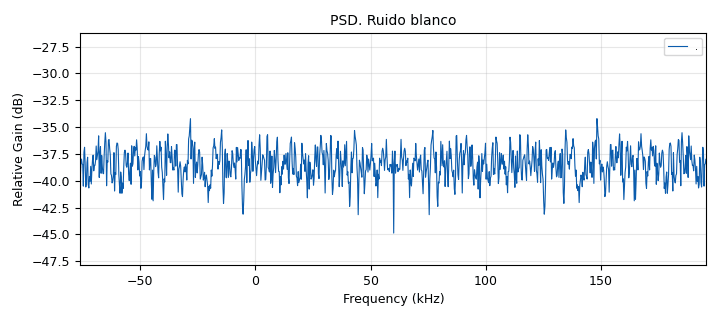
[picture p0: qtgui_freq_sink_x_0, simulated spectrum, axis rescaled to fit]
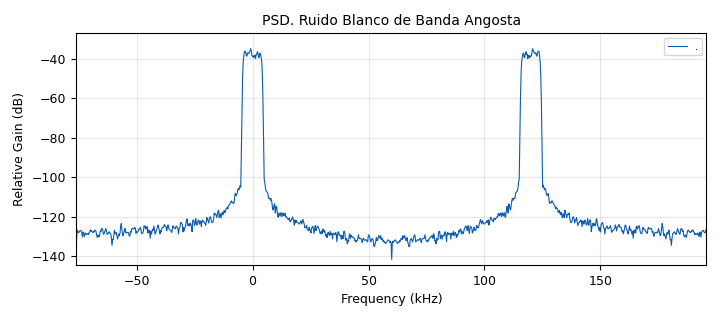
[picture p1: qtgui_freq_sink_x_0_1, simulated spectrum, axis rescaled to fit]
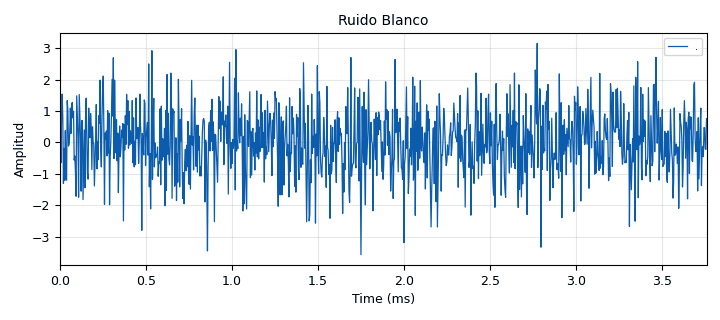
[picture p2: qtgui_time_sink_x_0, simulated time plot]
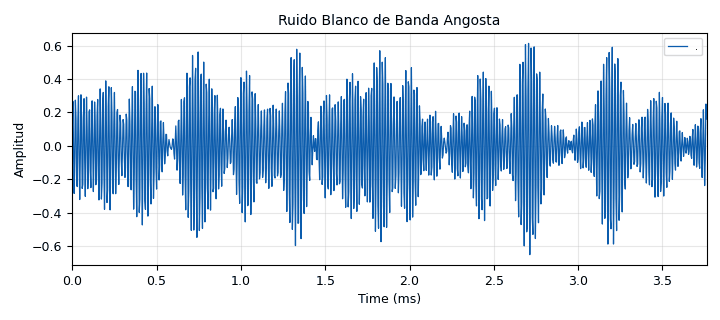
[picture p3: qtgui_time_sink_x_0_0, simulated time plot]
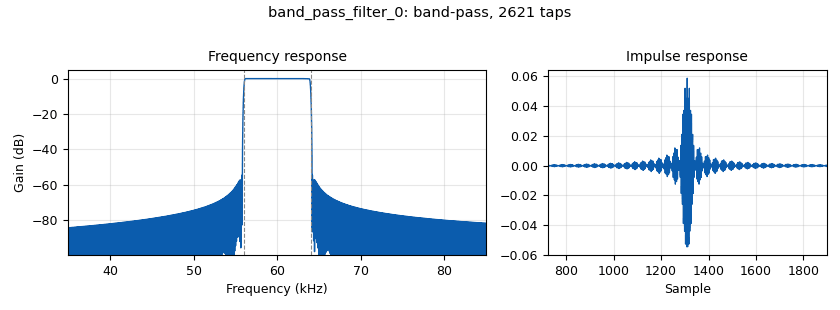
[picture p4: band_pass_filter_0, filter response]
<?xml version='1.0' encoding='utf-8'?>
<?grc format='1' created='3.7.13'?>
<flow_graph>
<block>
<key>options</key>
<param><key>id</key><value>top_block</value></param>
<param><key>category</key><value>Custom</value></param>
<param><key>generate_options</key><value>qt_gui</value></param>
<param><key>run</key><value>run_stop</value></param>
</block>
<block>
<key>variable</key>
<param><key>id</key><value>B</value></param>
<param><key>value</key><value>8000</value></param>
</block>
<block>
<key>variable</key>
<param><key>id</key><value>Fc</value></param>
<param><key>value</key><value>60000</value></param>
</block>
<block>
<key>variable</key>
<param><key>id</key><value>Fmax</value></param>
<param><key>value</key><value>samp_rate/2</value></param>
</block>
<block>
<key>variable_qtgui_check_box</key>
<param><key>id</key><value>run_stop</value></param>
<param><key>value</key><value>True</value></param>
<param><key>false</key><value>False</value></param>
<param><key>gui_hint</key><value>0,0</value></param>
<param><key>label</key><value>Inicial/Parar</value></param>
<param><key>true</key><value>True</value></param>
<param><key>type</key><value>int</value></param>
</block>
<block>
<key>variable</key>
<param><key>id</key><value>samp_rate</value></param>
<param><key>value</key><value>4*(Fc+B)</value></param>
</block>
<block>
<key>analog_noise_source_x</key>
<param><key>id</key><value>analog_noise_source_x_0_0</value></param>
<param><key>amp</key><value>1</value></param>
<param><key>noise_type</key><value>analog.GR_GAUSSIAN</value></param>
<param><key>type</key><value>float</value></param>
<param><key>seed</key><value>0</value></param>
</block>
<block>
<key>b_PSD</key>
<param><key>id</key><value>b_PSD_0</value></param>
<param><key>Amp</key><value>0.0000000001</value></param>
<param><key>_enabled</key><value>0</value></param>
<param><key>samp_rate_audio</key><value>samp_rate</value></param>
<param><key>gui_hint</key><value>3,0,1,1</value></param>
<param><key>N</key><value>1024</value></param>
<param><key>Ensayos</key><value>1000000</value></param>
<param><key>Titulo</key><value>'espectro'</value></param>
</block>
<block>
<key>b_PSD</key>
<param><key>id</key><value>b_PSD_0_0</value></param>
<param><key>Amp</key><value>0.0000000001</value></param>
<param><key>_enabled</key><value>0</value></param>
<param><key>samp_rate_audio</key><value>samp_rate</value></param>
<param><key>gui_hint</key><value>3,1,1,1</value></param>
<param><key>N</key><value>1024</value></param>
<param><key>Ensayos</key><value>1000000</value></param>
<param><key>Titulo</key><value>'espectro'</value></param>
</block>
<block>
<key>band_pass_filter</key>
<param><key>id</key><value>band_pass_filter_0</value></param>
<param><key>decim</key><value>1</value></param>
<param><key>type</key><value>fir_filter_fff</value></param>
<param><key>gain</key><value>1</value></param>
<param><key>high_cutoff_freq</key><value>Fc+B/2</value></param>
<param><key>low_cutoff_freq</key><value>Fc-B/2</value></param>
<param><key>samp_rate</key><value>samp_rate</value></param>
<param><key>width</key><value>(B/2)/16</value></param>
<param><key>win</key><value>firdes.WIN_HAMMING</value></param>
</block>
<block>
<key>import</key>
<param><key>id</key><value>import_0</value></param>
<param><key>import</key><value>import math</value></param>
</block>
<block>
<key>qtgui_freq_sink_x</key>
<param><key>id</key><value>qtgui_freq_sink_x_0</value></param>
<param><key>average</key><value>0.05</value></param>
<param><key>bw</key><value>samp_rate</value></param>
<param><key>fc</key><value>Fc</value></param>
<param><key>fftsize</key><value>1024</value></param>
<param><key>gui_hint</key><value>1,0,1,1</value></param>
<param><key>label1</key><value>.</value></param>
<param><key>width1</key><value>2</value></param>
<param><key>name</key><value>"PSD. Ruido blanco"</value></param>
<param><key>showports</key><value>True</value></param>
<param><key>type</key><value>float</value></param>
<param><key>wintype</key><value>firdes.WIN_BLACKMAN_hARRIS</value></param>
<param><key>ymax</key><value>-50</value></param>
<param><key>ymin</key><value>-200</value></param>
</block>
<block>
<key>qtgui_freq_sink_x</key>
<param><key>id</key><value>qtgui_freq_sink_x_0_1</value></param>
<param><key>average</key><value>0.05</value></param>
<param><key>bw</key><value>samp_rate</value></param>
<param><key>fc</key><value>Fc</value></param>
<param><key>fftsize</key><value>1024</value></param>
<param><key>gui_hint</key><value>2,0,1,1</value></param>
<param><key>label1</key><value>.</value></param>
<param><key>width1</key><value>2</value></param>
<param><key>name</key><value>"PSD. Ruido Blanco de Banda Angosta"</value></param>
<param><key>showports</key><value>True</value></param>
<param><key>type</key><value>float</value></param>
<param><key>wintype</key><value>firdes.WIN_BLACKMAN_hARRIS</value></param>
<param><key>ymax</key><value>-50</value></param>
<param><key>ymin</key><value>-200</value></param>
</block>
<block>
<key>qtgui_time_sink_x</key>
<param><key>id</key><value>qtgui_time_sink_x_0</value></param>
<param><key>autoscale</key><value>True</value></param>
<param><key>gui_hint</key><value>1,1,1,1</value></param>
<param><key>color1</key><value>"blue"</value></param>
<param><key>label1</key><value>.</value></param>
<param><key>width1</key><value>2</value></param>
<param><key>name</key><value>"Ruido Blanco"</value></param>
<param><key>size</key><value>1024</value></param>
<param><key>srate</key><value>samp_rate</value></param>
<param><key>type</key><value>float</value></param>
<param><key>ylabel</key><value>Amplitud</value></param>
<param><key>ymax</key><value>0.0003</value></param>
<param><key>ymin</key><value>-0.0003</value></param>
</block>
<block>
<key>qtgui_time_sink_x</key>
<param><key>id</key><value>qtgui_time_sink_x_0_0</value></param>
<param><key>autoscale</key><value>True</value></param>
<param><key>gui_hint</key><value>2,1,1,1</value></param>
<param><key>color1</key><value>"blue"</value></param>
<param><key>label1</key><value>.</value></param>
<param><key>width1</key><value>2</value></param>
<param><key>name</key><value>"Ruido Blanco de Banda Angosta"</value></param>
<param><key>size</key><value>1024</value></param>
<param><key>srate</key><value>samp_rate</value></param>
<param><key>type</key><value>float</value></param>
<param><key>ylabel</key><value>Amplitud</value></param>
<param><key>ymax</key><value>0.0003</value></param>
<param><key>ymin</key><value>-0.0003</value></param>
</block>
<block>
<key>virtual_sink</key>
<param><key>id</key><value>virtual_sink_0</value></param>
<param><key>stream_id</key><value>a1</value></param>
</block>
<block>
<key>virtual_sink</key>
<param><key>id</key><value>virtual_sink_0_0</value></param>
<param><key>stream_id</key><value>a2</value></param>
</block>
<block>
<key>virtual_source</key>
<param><key>id</key><value>virtual_source_0</value></param>
<param><key>stream_id</key><value>a1</value></param>
</block>
<block>
<key>virtual_source</key>
<param><key>id</key><value>virtual_source_0_0</value></param>
<param><key>stream_id</key><value>a2</value></param>
</block>
<connection><source_block_id>analog_noise_source_x_0_0</source_block_id><sink_block_id>band_pass_filter_0</sink_block_id><source_key>0</source_key><sink_key>0</sink_key></connection>
<connection><source_block_id>analog_noise_source_x_0_0</source_block_id><sink_block_id>virtual_sink_0</sink_block_id><source_key>0</source_key><sink_key>0</sink_key></connection>
<connection><source_block_id>band_pass_filter_0</source_block_id><sink_block_id>virtual_sink_0_0</sink_block_id><source_key>0</source_key><sink_key>0</sink_key></connection>
<connection><source_block_id>virtual_source_0</source_block_id><sink_block_id>qtgui_freq_sink_x_0</sink_block_id><source_key>0</source_key><sink_key>0</sink_key></connection>
<connection><source_block_id>virtual_source_0</source_block_id><sink_block_id>qtgui_time_sink_x_0</sink_block_id><source_key>0</source_key><sink_key>0</sink_key></connection>
<connection><source_block_id>virtual_source_0_0</source_block_id><sink_block_id>qtgui_freq_sink_x_0_1</sink_block_id><source_key>0</source_key><sink_key>0</sink_key></connection>
<connection><source_block_id>virtual_source_0_0</source_block_id><sink_block_id>qtgui_time_sink_x_0_0</sink_block_id><source_key>0</source_key><sink_key>0</sink_key></connection>
</flow_graph>
